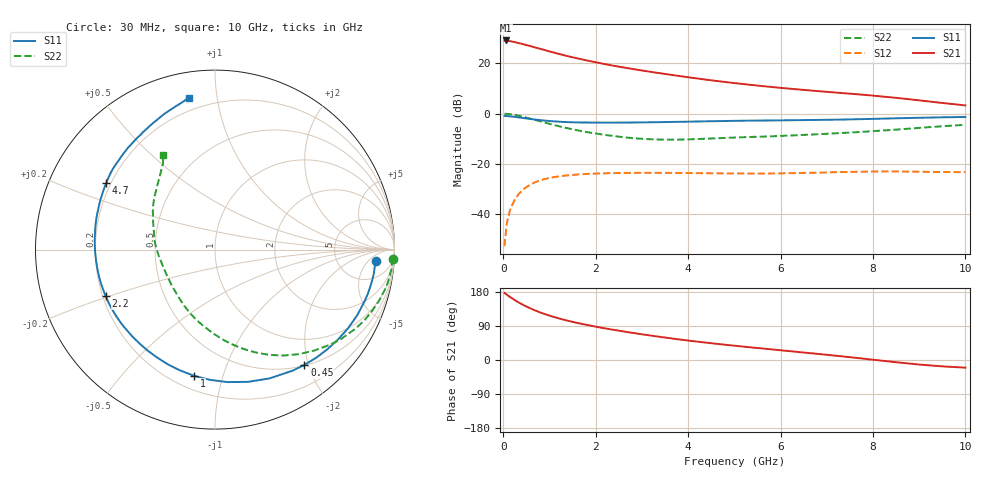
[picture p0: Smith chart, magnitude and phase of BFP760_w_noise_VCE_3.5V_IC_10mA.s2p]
! Infineon Technologies  Discrete & RF Semiconductors
! BFP760
! VCE =  3.5 V,  IC =  10 mA
! Common Emitter S-Parameters:  Nov 2012
# GHz  S  MA  R  50
!  f  S11  S21  S12  S22
! GHz  MAG  ANG  MAG  ANG  MAG  ANG  MAG  ANG
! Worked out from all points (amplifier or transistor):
!   99 points, 30 MHz to 10 GHz, reference 50 ohm
!   highest |S21| = 29.1 dB at 50 MHz (marker M1)
!   |S21| within 3 dB of that: start of sweep to 735.5 MHz
!   unconditionally stable (mu >= 1): 5.469 GHz to end of sweep
!   at 350 MHz: K = 0.13, MSG = 29.9 dB, |S12| = -31.7 dB
!   at 3.5 GHz: K = 0.68, MSG = 19.7 dB, |S12| = -23.6 dB
!   at 10 GHz: K = 1.17, MAG = 10.8 dB, |S12| = -23.3 dB
!   lowest NFmin = 0.48 dB at 900 MHz
!   S11 on the Smith chart (normalised r, x): 30 MHz: 13, -8; 450 MHz: 0.51, -1.93; 1 GHz: 0.28, -0.81; 2.2 GHz: 0.21, -0.20; 4.7 GHz: 0.18, +0.27; 10 GHz: 0.13, +0.83
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0.03  0.8985 -3.9  28.23 176.9  0.0023 78.8  0.9923 -2.9
0.05  0.8948 -6.3  28.57 174.7  0.0038 72.8  0.9895 -4.4
0.15  0.8824 -18.7  27.61 166.0  0.0122 77.8  0.9725 -13.2
0.25  0.8614 -30.5  26.47 158.1  0.0193 72.6  0.9391 -21.4
0.35  0.8366 -41.7  25.13 150.8  0.026 67.0  0.9006 -29.0
0.45  0.8129 -52.2  23.84 144.2  0.0318 61.3  0.8576 -36.0
0.6  0.7793 -67.0  21.91 135.5  0.0393 54.4  0.788 -45.6
0.7  0.7597 -75.9  20.64 130.4  0.0434 50.0  0.7449 -51.5
0.8  0.7416 -84.5  19.5 125.5  0.0469 46.4  0.7038 -57.0
1  0.7131 -99.3  17.3 117.2  0.0524 40.0  0.6271 -67.0
1.3  0.6825 -118.1  14.64 106.6  0.0578 32.4  0.5337 -80.1
1.5  0.6713 -128.6  13.21 100.7  0.0602 28.5  0.4862 -87.7
1.7  0.6654 -137.9  12.01 95.3  0.062 25.5  0.4472 -94.8
2.2  0.6621 -156.9  9.664 83.5  0.0648 18.9  0.3776 -112.2
2.7  0.6642 -172.0  8.009 73.4  0.066 14.4  0.3315 -128.3
3.4  0.6766 170.8  6.346 60.9  0.0661 10.1  0.3046 -150.4
4  0.6914 159.0  5.291 51.4  0.0656 7.5  0.3072 -166.8
4.7  0.7101 148.7  4.371 41.6  0.0647 6.1  0.3253 179.5
5.1  0.7201 144.2  3.96 36.5  0.0643 6.0  0.3365 173.6
6.7  0.7476 129.9  2.859 17.4  0.0665 6.2  0.3842 154.0
8.5  0.807 110.5  2.061 -5.9  0.0706 1.6  0.48 132.1
10  0.8584 99.9  1.456 -20.2  0.0684 0.4  0.5991 118.8
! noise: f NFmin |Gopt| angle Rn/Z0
0.9  0.48  0.22  28  0.1
1.8  0.54  0.16  58  0.09
2.4  0.59  0.14  85  0.08
3.5  0.73  0.12  129  0.08
5.5  0.97  0.28  -140  0.08
8  1.38  0.41  -95  0.25
